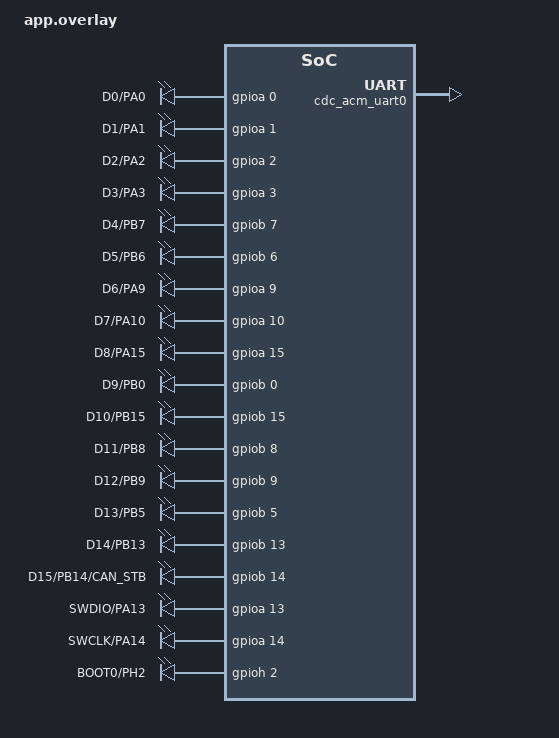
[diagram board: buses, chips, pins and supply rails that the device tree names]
/*
 * GPIO all-pins test.
 *
 * USB CDC stays active on PA11/PA12. Header pins D0-D15 are released from
 * board default peripherals and exposed as gpio-leds entries for convenient
 * gpio_dt_spec lookup.
 */

/ {
	gpio_all_pins_test {
		compatible = "gpio-leds";

		gpio_d0: gpio_d0 {
			gpios = <&gpioa 0 GPIO_ACTIVE_HIGH>;
			label = "D0/PA0";
		};

		gpio_d1: gpio_d1 {
			gpios = <&gpioa 1 GPIO_ACTIVE_HIGH>;
			label = "D1/PA1";
		};

		gpio_d2: gpio_d2 {
			gpios = <&gpioa 2 GPIO_ACTIVE_HIGH>;
			label = "D2/PA2";
		};

		gpio_d3: gpio_d3 {
			gpios = <&gpioa 3 GPIO_ACTIVE_HIGH>;
			label = "D3/PA3";
		};

		gpio_d4: gpio_d4 {
			gpios = <&gpiob 7 GPIO_ACTIVE_HIGH>;
			label = "D4/PB7";
		};

		gpio_d5: gpio_d5 {
			gpios = <&gpiob 6 GPIO_ACTIVE_HIGH>;
			label = "D5/PB6";
		};

		gpio_d6: gpio_d6 {
			gpios = <&gpioa 9 GPIO_ACTIVE_HIGH>;
			label = "D6/PA9";
		};

		gpio_d7: gpio_d7 {
			gpios = <&gpioa 10 GPIO_ACTIVE_HIGH>;
			label = "D7/PA10";
		};

		gpio_d8: gpio_d8 {
			gpios = <&gpioa 15 GPIO_ACTIVE_HIGH>;
			label = "D8/PA15";
		};

		gpio_d9: gpio_d9 {
			gpios = <&gpiob 0 GPIO_ACTIVE_HIGH>;
			label = "D9/PB0";
		};

		gpio_d10: gpio_d10 {
			gpios = <&gpiob 15 GPIO_ACTIVE_HIGH>;
			label = "D10/PB15";
		};

		gpio_d11: gpio_d11 {
			gpios = <&gpiob 8 GPIO_ACTIVE_HIGH>;
			label = "D11/PB8";
		};

		gpio_d12: gpio_d12 {
			gpios = <&gpiob 9 GPIO_ACTIVE_HIGH>;
			label = "D12/PB9";
		};

		gpio_d13: gpio_d13 {
			gpios = <&gpiob 5 GPIO_ACTIVE_HIGH>;
			label = "D13/PB5";
		};

		gpio_d14: gpio_d14 {
			gpios = <&gpiob 13 GPIO_ACTIVE_HIGH>;
			label = "D14/PB13";
		};

		gpio_d15: gpio_d15 {
			gpios = <&gpiob 14 GPIO_ACTIVE_HIGH>;
			label = "D15/PB14/CAN_STB";
		};

		gpio_swdio: gpio_swdio {
			gpios = <&gpioa 13 GPIO_ACTIVE_HIGH>;
			label = "SWDIO/PA13";
		};

		gpio_swclk: gpio_swclk {
			gpios = <&gpioa 14 GPIO_ACTIVE_HIGH>;
			label = "SWCLK/PA14";
		};

		gpio_boot0: gpio_boot0 {
			gpios = <&gpioh 2 GPIO_ACTIVE_HIGH>;
			label = "BOOT0/PH2";
		};
	};

	aliases {
		gpio-d0 = &gpio_d0;
		gpio-d1 = &gpio_d1;
		gpio-d2 = &gpio_d2;
		gpio-d3 = &gpio_d3;
		gpio-d4 = &gpio_d4;
		gpio-d5 = &gpio_d5;
		gpio-d6 = &gpio_d6;
		gpio-d7 = &gpio_d7;
		gpio-d8 = &gpio_d8;
		gpio-d9 = &gpio_d9;
		gpio-d10 = &gpio_d10;
		gpio-d11 = &gpio_d11;
		gpio-d12 = &gpio_d12;
		gpio-d13 = &gpio_d13;
		gpio-d14 = &gpio_d14;
		gpio-d15 = &gpio_d15;
		gpio-swdio = &gpio_swdio;
		gpio-swclk = &gpio_swclk;
		gpio-boot0 = &gpio_boot0;
	};
};

&usart1 {
	status = "disabled";
};

&i2c1 {
	status = "disabled";
};

&adc1 {
	status = "disabled";
};

&fdcan2 {
	status = "disabled";
};

&zephyr_udc0 {
	cdc_acm_uart0 {
		compatible = "zephyr,cdc-acm-uart";
		label = "XIAO STM32C5 USB CDC ACM";
	};
};
